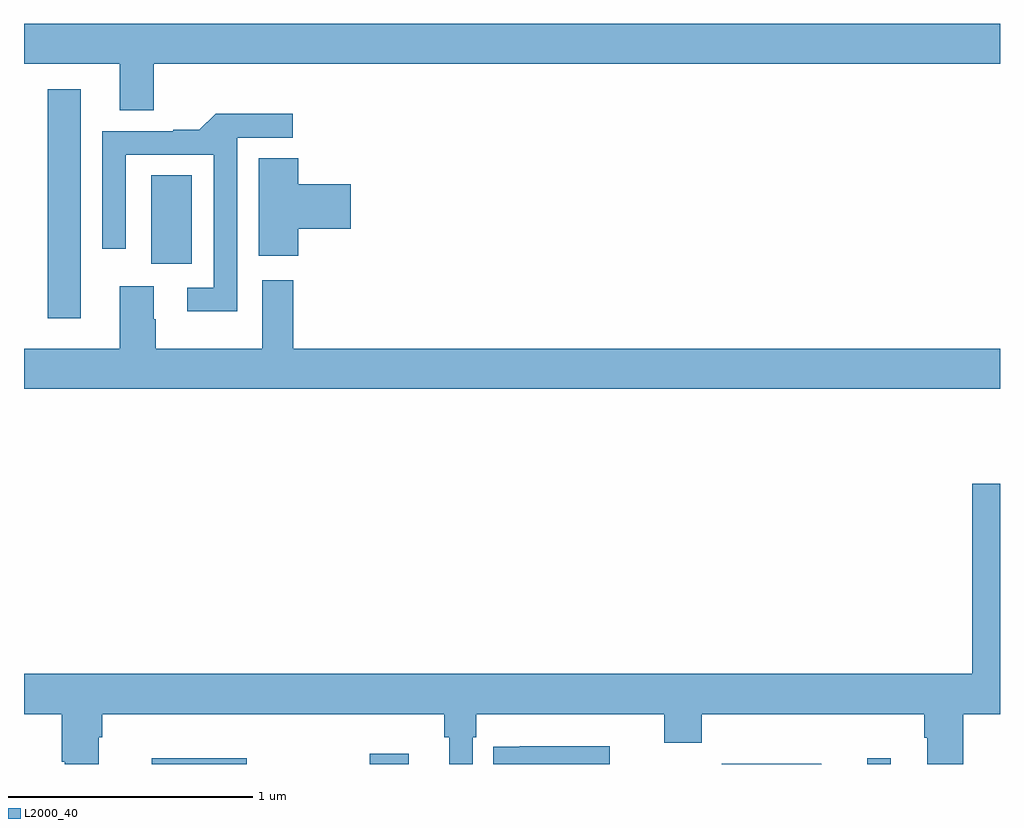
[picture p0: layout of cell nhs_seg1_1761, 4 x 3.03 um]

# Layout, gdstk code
import gdstk
lib = gdstk.Library(unit=1e-6, precision=1e-09)
def R(c, l, rs):  # rectangles x0, y0, x1, y1
    for r in rs: c.add(gdstk.rectangle(r[:2], r[2:], *l))
def P(c, l, *ps):  # polygons
    for p in ps: c.add(gdstk.Polygon(p, *l))
L2000_40 = (2000, 40)

nhs_seg1_1761 = lib.new_cell('nhs_seg1_1761')
R(nhs_seg1_1761, L2000_40, [(207.524,546.199,207.913,546.223), (208.418,546.199,208.576,546.241), (210.456,546.199,210.553,546.223), (207.098,548.025,207.232,548.965), (207.521,548.25,207.688,548.612)])
P(nhs_seg1_1761, L2000_40, [(207.532,549.068),(211,549.068),(211,549.232),(207,549.232),(207,549.068),(207.392,549.068),(207.392,548.878),(207.532,548.878)],
  [(207.873,548.766),(208.102,548.766),(208.102,548.864),(207.785,548.864),(207.719,548.798),(207.611,548.798),(207.611,548.793),(207.321,548.793),(207.321,548.31),(207.417,548.31),(207.417,548.697),(207.777,548.697),(207.777,548.151),(207.669,548.151),(207.669,548.054),(207.873,548.054)],
  [(208.124,548.393),(208.339,548.393),(208.339,548.576),(208.124,548.576),(208.124,548.681),(207.962,548.681),(207.962,548.283),(208.124,548.283)],
  [(211,547.9),(208.103,547.9),(208.103,548.182),(207.977,548.182),(207.977,547.9),(207.54,547.9),(207.54,548.021),(207.532,548.021),(207.532,548.158),(207.392,548.158),(207.392,547.9),(207,547.9),(207,547.736),(211,547.736)],
  [(207,546.404),(207.155,546.404),(207.155,546.208),(207.167,546.208),(207.167,546.199),(207.307,546.199),(207.307,546.308),(207.32,546.308),(207.32,546.404),(208.723,546.404),(208.723,546.308),(208.742,546.308),(208.742,546.199),(208.839,546.199),(208.839,546.308),(208.853,546.308),(208.853,546.404),(209.624,546.404),(209.624,546.287),(209.777,546.287),(209.777,546.404),(210.689,546.404),(210.689,546.306),(210.701,546.306),(210.701,546.199),(210.849,546.199),(210.849,546.404),(211,546.404),(211,547.348),(210.887,547.348),(210.887,546.568),(207,546.568)],
  [(209.4,546.271),(209.032,546.271),(209.032,546.27),(208.924,546.27),(208.924,546.199),(209.4,546.199)],
  [(210.268,546.2),(209.86,546.2),(209.86,546.199),(210.269,546.199)])

lib.write_gds('nhs_seg1_1761.gds')
